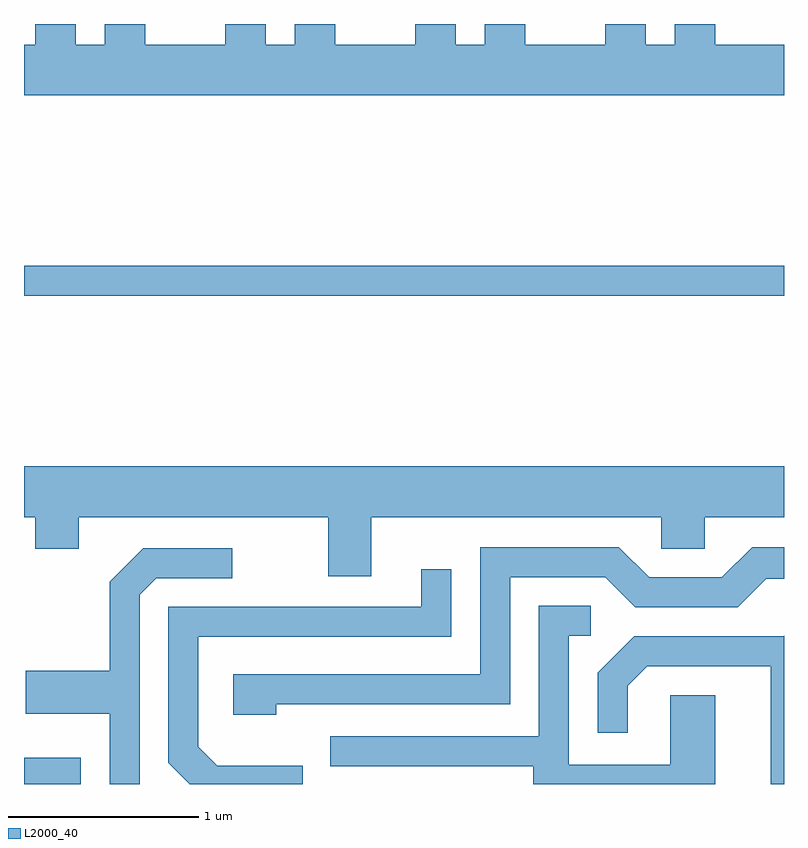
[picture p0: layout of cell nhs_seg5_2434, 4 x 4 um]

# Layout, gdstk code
import gdstk
lib = gdstk.Library(unit=1e-6, precision=1e-09)
def R(c, l, rs):  # rectangles x0, y0, x1, y1
    for r in rs: c.add(gdstk.rectangle(r[:2], r[2:], *l))
def P(c, l, *ps):  # polygons
    for p in ps: c.add(gdstk.Polygon(p, *l))
L2000_40 = (2000, 40)

nhs_seg5_2434 = lib.new_cell('nhs_seg5_2434')
R(nhs_seg5_2434, L2000_40, [(257.611,1442.072,257.909,1442.209), (257.611,1444.641,261.611,1444.799)])
P(nhs_seg5_2434, L2000_40, [(261.611,1445.964),(261.249,1445.964),(261.249,1446.072),(261.036,1446.072),(261.036,1445.964),(260.884,1445.964),(260.884,1446.072),(260.671,1446.072),(260.671,1445.964),(260.249,1445.964),(260.249,1446.072),(260.036,1446.072),(260.036,1445.964),(259.884,1445.964),(259.884,1446.072),(259.671,1446.072),(259.671,1445.964),(259.249,1445.964),(259.249,1446.072),(259.036,1446.072),(259.036,1445.964),(258.884,1445.964),(258.884,1446.072),(258.671,1446.072),(258.671,1445.964),(258.249,1445.964),(258.249,1446.072),(258.036,1446.072),(258.036,1445.964),(257.884,1445.964),(257.884,1446.072),(257.671,1446.072),(257.671,1445.964),(257.611,1445.964),(257.611,1445.696),(261.611,1445.696)],
  [(259.439,1443.476),(260.966,1443.476),(260.966,1443.311),(261.194,1443.311),(261.194,1443.476),(261.611,1443.476),(261.611,1443.744),(257.611,1443.744),(257.611,1443.476),(257.671,1443.476),(257.671,1443.311),(257.899,1443.311),(257.899,1443.476),(259.211,1443.476),(259.211,1443.166),(259.439,1443.166)],
  [(258.939,1442.491),(260.169,1442.491),(260.169,1443.161),(260.669,1443.161),(260.829,1443.001),(261.367,1443.001),(261.517,1443.151),(261.611,1443.151),(261.611,1443.319),(261.444,1443.319),(261.284,1443.159),(260.902,1443.159),(260.742,1443.319),(260.011,1443.319),(260.011,1442.649),(258.711,1442.649),(258.711,1442.436),(258.939,1442.436)],
  [(258.219,1443.069),(258.307,1443.156),(258.707,1443.156),(258.707,1443.314),(258.239,1443.314),(258.061,1443.137),(258.061,1442.669),(257.621,1442.669),(257.621,1442.441),(258.061,1442.441),(258.061,1442.072),(258.219,1442.072)],
  [(259.079,1442.169),(258.627,1442.169),(258.529,1442.267),(258.529,1442.846),(259.859,1442.846),(259.859,1443.203),(259.701,1443.203),(259.701,1443.004),(258.371,1443.004),(258.371,1442.184),(258.483,1442.072),(259.079,1442.072)],
  [(261.249,1442.539),(261.011,1442.539),(261.011,1442.174),(260.479,1442.174),(260.479,1442.851),(260.593,1442.851),(260.593,1443.009),(260.321,1443.009),(260.321,1442.324),(259.223,1442.324),(259.223,1442.166),(260.291,1442.166),(260.291,1442.072),(261.249,1442.072)],
  [(261.611,1442.851),(261.609,1442.849),(260.824,1442.849),(260.631,1442.657),(260.631,1442.343),(260.789,1442.343),(260.789,1442.589),(260.892,1442.691),(261.541,1442.691),(261.541,1442.072),(261.611,1442.072)])

lib.write_gds('nhs_seg5_2434.gds')
